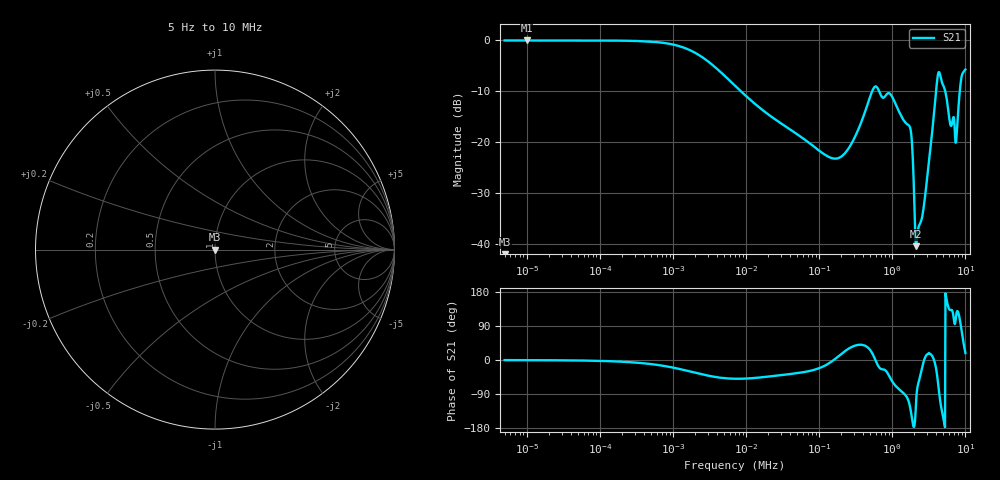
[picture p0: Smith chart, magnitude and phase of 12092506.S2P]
!Agilent Technologies,E5061B,MY49204007,A.02.12
!Date: Fri Sep 12 09:40:02 2025
!Data & Calibration Information:
!Freq	S11:SOLT2(OFF)	S21:SOLT2(OFF)	S12:SOLT2(OFF)	S22:SOLT2(OFF)
# Hz S dB R 50
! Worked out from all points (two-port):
!   1041 points, 5 Hz to 10 MHz, reference 50 ohm
!   highest |S21| = -0.05 dB at 9.964 Hz (marker M1); lowest = -40.3 dB at 2.109 MHz (marker M2)
!   |S21| within 3 dB of the highest: start of sweep to 2.356 kHz
!   lowest |S11| = - dB at 5 Hz (marker M3), VSWR 1.00, Z = 50 + j0 ohm
!   |S11| at or under -10 dB: start of sweep to end of sweep
!   S12 and S22 are empty: the file has one direction only
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5  -200.00 0.0  -0.05 -0.3  -200.00 0.0  -200.00 0.0
9.964  -200.00 0.0  -0.05 -0.4  -200.00 0.0  -200.00 0.0
56.522  -200.00 0.0  -0.05 -1.4  -200.00 0.0  -200.00 0.0
632.897  -200.00 0.0  -0.40 -13.3  -200.00 0.0  -200.00 0.0
2229.669  -200.00 0.0  -2.83 -35.5  -200.00 0.0  -200.00 0.0
7154.49  -200.00 0.0  -8.97 -49.5  -200.00 0.0  -200.00 0.0
80111.67  -200.00 0.0  -20.55 -27.4  -200.00 0.0  -200.00 0.0
199409.4  -200.00 0.0  -22.82 15.4  -200.00 0.0  -200.00 0.0
556996.8  -200.00 0.0  -9.38 10.2  -200.00 0.0  -200.00 0.0
893075.1  -200.00 0.0  -10.36 -39.7  -200.00 0.0  -200.00 0.0
1744260  -200.00 0.0  -17.02 -122.3  -200.00 0.0  -200.00 0.0
1863334  -200.00 0.0  -20.29 -156.1  -200.00 0.0  -200.00 0.0
2108729  -200.00 0.0  -40.34 -116.2  -200.00 0.0  -200.00 0.0
2633916  -200.00 0.0  -33.64 -10.2  -200.00 0.0  -200.00 0.0
3636709  -200.00 0.0  -15.85 5.1  -200.00 0.0  -200.00 0.0
4315301  -200.00 0.0  -6.26 -76.3  -200.00 0.0  -200.00 0.0
5074112  -200.00 0.0  -9.12 -160.3  -200.00 0.0  -200.00 0.0
5773548  -200.00 0.0  -13.26 143.1  -200.00 0.0  -200.00 0.0
7255215  -200.00 0.0  -19.19 97.6  -200.00 0.0  -200.00 0.0
8318180  -200.00 0.0  -10.48 111.0  -200.00 0.0  -200.00 0.0
9038960  -200.00 0.0  -6.69 66.4  -200.00 0.0  -200.00 0.0
1e7  -200.00 0.0  -5.74 18.4  -200.00 0.0  -200.00 0.0
